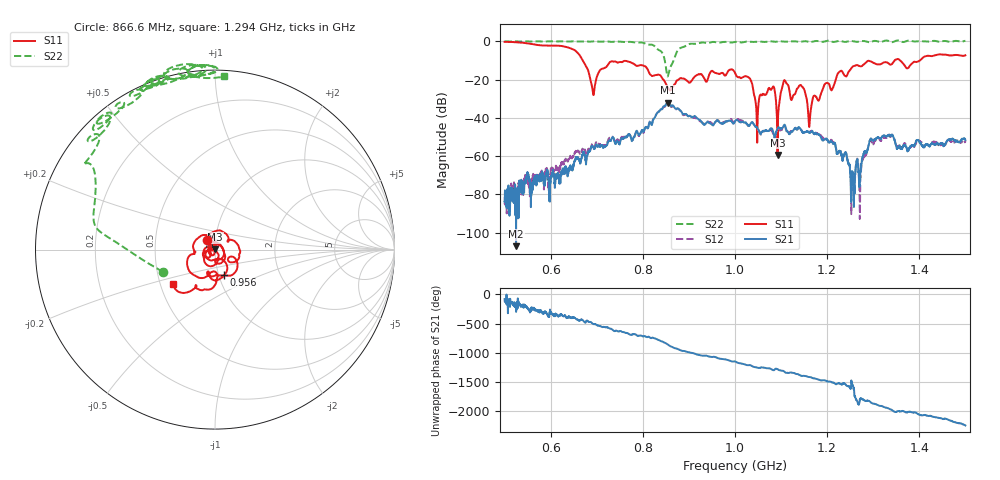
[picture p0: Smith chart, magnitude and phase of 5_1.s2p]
!Agilent Technologies,E8364B,US42250235,A.06.04.32
!Agilent E8364B: A.06.04.32
!Date: Thursday, October 01, 2020 15:54:40
!Correction: S11(Full 2 Port(1,2)) S21(Full 2 Port(1,2)) S12(Full 2 Port(1,2)) S22(Full 2 Port(1,2))
!S2P File: Measurements: S11, S21, S12, S22:
# Hz S  dB  R 50
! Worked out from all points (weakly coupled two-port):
!   2650 points, 500 MHz to 1.5 GHz, reference 50 ohm
!   highest |S21| = -31.94 dB at 854.9 MHz (marker M1); lowest = -107.0 dB at 524.9 MHz (marker M2)
!   lowest |S11| = -59.4 dB at 1.092 GHz (marker M3), VSWR 1.00, Z = 50.1 + j0.0707 ohm
!   |S11| at or under -10 dB: 669.9 MHz to 1.346 GHz (676.2 MHz wide, 67.1 % of centre); 1.359 GHz to 1.401 GHz (41.93 MHz wide, 3.04 % of centre)
!   |S22| runs from -18.3 to 0.5 dB; largest |S21 - S12| = 0.0021
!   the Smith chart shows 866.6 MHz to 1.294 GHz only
!   S11 on the Smith chart (normalised r, x): 866.6 MHz: 0.91, +0.10; 956 MHz: 1.06, -0.31; 1.294 GHz: 0.58, -0.24
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5e8  -0.19 -175.2  -83.71 -84.3  -85.10 -98.3  0.08 142.0
5.249151e8  -0.39 170.2  -107.03 58.6  -79.06 -145.4  0.09 140.8
6.238203e8  -2.38 103.6  -67.54 13.8  -63.00 25.6  0.02 130.7
6.668554e8  -8.82 39.2  -61.30 -75.6  -57.72 -80.4  0.00 123.8
6.92148e8  -27.48 66.6  -55.11 -147.4  -53.91 -150.8  0.01 118.7
7.325406e8  -10.41 94.0  -50.68 125.4  -49.99 118.5  -0.24 113.3
8.337108e8  -17.32 -83.7  -36.83 -60.9  -36.70 -66.2  -4.38 54.7
8.548509e8  -24.37 147.2  -31.94 -144.0  -32.23 -148.3  -17.79 -65.5
8.665534e8  -23.12 128.0  -33.76 168.1  -34.16 166.7  -10.00 -156.9
9.560211e8  -16.39 -71.0  -42.51 8.9  -42.39 9.6  -0.31 134.6
1.000189e9  -16.51 -165.6  -41.80 -67.9  -41.65 -69.0  -0.27 122.0
1.032276e9  -19.32 133.1  -43.69 -129.5  -43.81 -130.4  -0.19 118.9
1.047376e9  -42.50 74.1  -44.87 -170.8  -44.84 -171.0  -0.10 112.8
1.082106e9  -23.67 -114.8  -46.78 145.3  -47.85 148.8  -0.09 113.2
1.092299e9  -59.36 41.0  -45.77 162.1  -45.93 158.1  -0.06 108.3
1.108532e9  -20.52 -123.7  -43.90 108.9  -44.41 114.0  -0.13 112.1
1.166667e9  -32.36 -98.3  -47.06 18.6  -46.76 20.5  -0.23 101.6
1.240279e9  -18.21 -96.1  -57.93 -104.9  -58.16 -104.7  -0.23 93.7
1.255757e9  -13.05 -96.8  -68.60 -122.2  -71.83 -136.3  0.15 97.7
1.294262e9  -10.41 -141.1  -50.92 -42.6  -51.28 -46.1  -0.29 86.9
1.333522e9  -11.55 -162.7  -48.89 -150.2  -49.38 -142.3  0.23 97.5
1.5e9  -7.26 138.1  -51.74 -78.8  -52.83 -76.1  0.36 69.3
